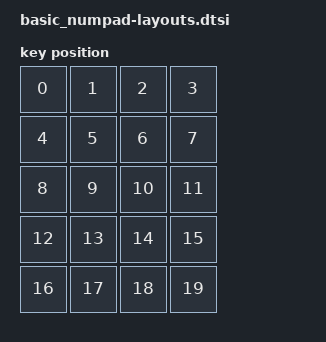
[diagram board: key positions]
#include <physical_layouts.dtsi>

/ {
    physical_layout0: keymap_layout_0 {
        compatible = "zmk,physical-layout";

        display-name = "4x5";

        transform = <&transform0>;
        kscan = <&kscan0>;

        keys
            = <&key_physical_attrs 100 100   0   0 0 0 0>
            , <&key_physical_attrs 100 100 100   0 0 0 0>
            , <&key_physical_attrs 100 100 200   0 0 0 0>
            , <&key_physical_attrs 100 100 300   0 0 0 0>

            , <&key_physical_attrs 100 100   0 100 0 0 0>
            , <&key_physical_attrs 100 100 100 100 0 0 0>
            , <&key_physical_attrs 100 100 200 100 0 0 0>
            , <&key_physical_attrs 100 100 300 100 0 0 0>

            , <&key_physical_attrs 100 100   0 200 0 0 0>
            , <&key_physical_attrs 100 100 100 200 0 0 0>
            , <&key_physical_attrs 100 100 200 200 0 0 0>
            , <&key_physical_attrs 100 100 300 200 0 0 0>

            , <&key_physical_attrs 100 100   0 300 0 0 0>
            , <&key_physical_attrs 100 100 100 300 0 0 0>
            , <&key_physical_attrs 100 100 200 300 0 0 0>
            , <&key_physical_attrs 100 100 300 300 0 0 0>

            , <&key_physical_attrs 100 100   0 400 0 0 0>
            , <&key_physical_attrs 100 100 100 400 0 0 0>
            , <&key_physical_attrs 100 100 200 400 0 0 0>
            , <&key_physical_attrs 100 100 300 400 0 0 0>
            ;
    };
};
